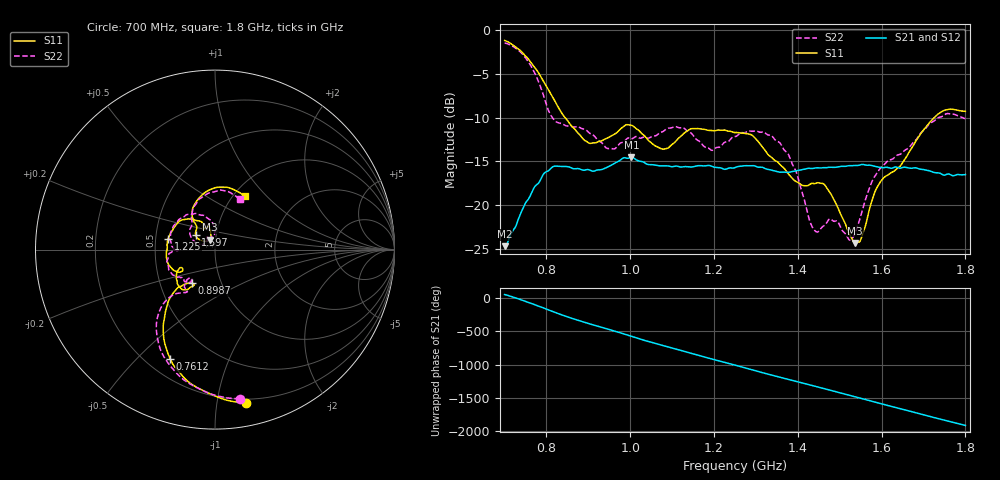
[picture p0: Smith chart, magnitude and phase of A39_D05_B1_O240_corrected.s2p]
! Created with skrf 1.9.0 (http://scikit-rf.org).
# Hz S RI R 50.0
!freq ReS11 ImS11 ReS21 ImS21 ReS12 ImS12 ReS22 ImS22
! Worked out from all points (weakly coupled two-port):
!   1601 points, 700 MHz to 1.8 GHz, reference 50 ohm
!   highest |S21| = -14.54 dB at 1.002 GHz (marker M1); lowest = -24.6 dB at 700 MHz (marker M2)
!   lowest |S11| = -24.3 dB at 1.537 GHz (marker M3), VSWR 1.13, Z = 47.1 + j5.16 ohm
!   |S11| at or under -10 dB: 844.4 MHz to 1.726 GHz (881.2 MHz wide, 68.6 % of centre)
!   |S22| runs from -24.0 to -1.5 dB; largest |S21 - S12| = 0.0035
!   S11 on the Smith chart (normalised r, x): 700 MHz: 0.17, -1.21; 761.2 MHz: 0.29, -0.63; 898.7 MHz: 0.72, -0.29; 1.225 GHz: 0.58, +0.07; 1.597 GHz: 0.79, +0.13; 1.8 GHz: 1.12, +0.76
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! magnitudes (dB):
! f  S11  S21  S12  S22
! 700 MHz  -1.2  -24.6  -24.4  -1.5
! 761.2 MHz  -3.6  -18.9  -18.8  -4.0
! 816.2 MHz  -7.8  -15.6  -15.7  -10.1
! 883.6 MHz  -12.2  -15.9  -15.8  -11.2
! 898.7 MHz  -12.8  -15.9  -16.0  -11.6
! 947.5 MHz  -12.3  -15.6  -15.6  -13.5
! 1.002 GHz  -10.9  -14.5  -14.6  -12.4
! 1.067 GHz  -13.4  -15.5  -15.4  -11.8
! 1.145 GHz  -11.3  -15.6  -15.6  -11.8
! 1.193 GHz  -11.5  -15.5  -15.5  -13.7
! 1.225 GHz  -11.4  -15.9  -15.8  -12.8
! 1.25 GHz  -11.7  -15.7  -15.6  -12.2
! 1.357 GHz  -15.3  -16.2  -16.2  -12.9
! 1.396 GHz  -17.3  -16.1  -16.1  -16.2
! 1.434 GHz  -17.5  -15.8  -15.8  -22.4
! 1.468 GHz  -17.9  -15.7  -15.7  -22.0
! 1.537 GHz  -24.3  -15.5  -15.5  -23.2
! 1.552 GHz  -23.7  -15.3  -15.4  -20.9
! 1.597 GHz  -17.3  -15.7  -15.7  -15.8
! 1.617 GHz  -16.5  -15.7  -15.7  -14.8
! 1.733 GHz  -9.6  -16.3  -16.3  -10.1
! 1.8 GHz  -9.3  -16.5  -16.5  -10.1
